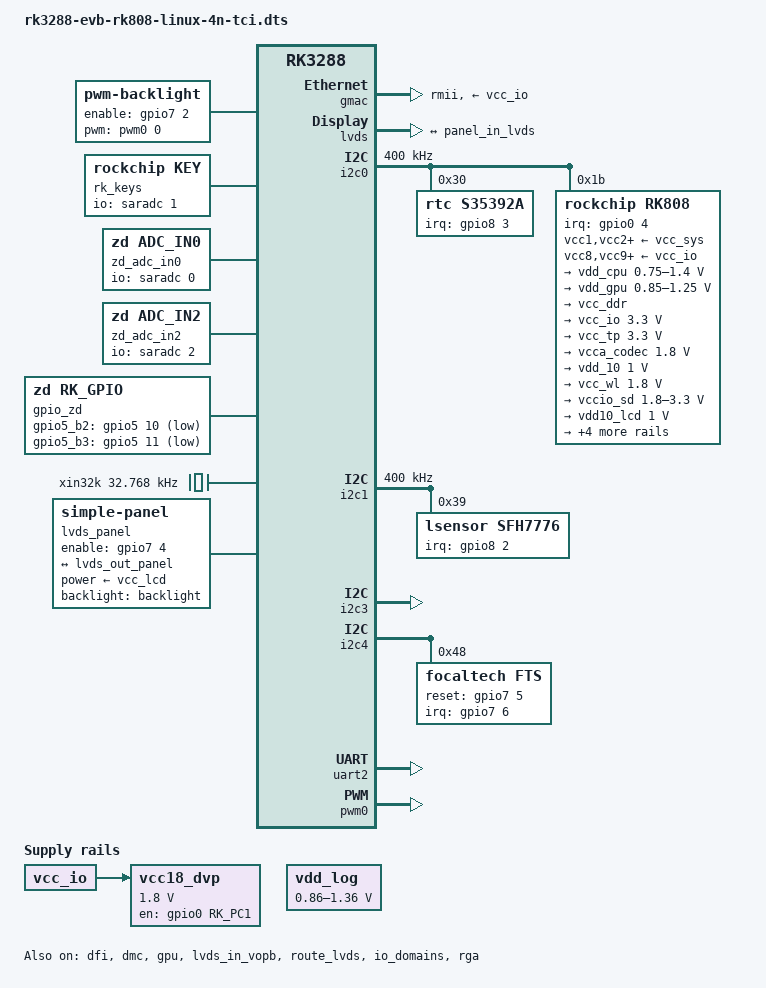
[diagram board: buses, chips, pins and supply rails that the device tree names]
/*
 * This file is dual-licensed: you can use it either under the terms
 * of the GPL or the X11 license, at your option. Note that this dual
 * licensing only applies to this file, and not this project as a
 * whole.
 *
 *  a) This file is free software; you can redistribute it and/or
 *     modify it under the terms of the GNU General Public License as
 *     published by the Free Software Foundation; either version 2 of the
 *     License, or (at your option) any later version.
 *
 *     This file is distributed in the hope that it will be useful,
 *     but WITHOUT ANY WARRANTY; without even the implied warranty of
 *     MERCHANTABILITY or FITNESS FOR A PARTICULAR PURPOSE.  See the
 *     GNU General Public License for more details.
 *
 * Or, alternatively,
 *
 *  b) Permission is hereby granted, free of charge, to any person
 *     obtaining a copy of this software and associated documentation
 *     files (the "Software"), to deal in the Software without
 *     restriction, including without limitation the rights to use,
 *     copy, modify, merge, publish, distribute, sublicense, and/or
 *     sell copies of the Software, and to permit persons to whom the
 *     Software is furnished to do so, subject to the following
 *     conditions:
 *
 *     The above copyright notice and this permission notice shall be
 *     included in all copies or substantial portions of the Software.
 *
 *     THE SOFTWARE IS PROVIDED "AS IS", WITHOUT WARRANTY OF ANY KIND,
 *     EXPRESS OR IMPLIED, INCLUDING BUT NOT LIMITED TO THE WARRANTIES
 *     OF MERCHANTABILITY, FITNESS FOR A PARTICULAR PURPOSE AND
 *     NONINFRINGEMENT. IN NO EVENT SHALL THE AUTHORS OR COPYRIGHT
 *     HOLDERS BE LIABLE FOR ANY CLAIM, DAMAGES OR OTHER LIABILITY,
 *     WHETHER IN AN ACTION OF CONTRACT, TORT OR OTHERWISE, ARISING
 *     FROM, OUT OF OR IN CONNECTION WITH THE SOFTWARE OR THE USE OR
 *     OTHER DEALINGS IN THE SOFTWARE.
 */

/dts-v1/;
#include "rk3288-evb-4n.dtsi"
#include "rk3288-linux-4n.dtsi"
//#include "rk3288-rkisp1.dtsi"
#include <dt-bindings/display/media-bus-format.h>

/ {
	compatible = "rockchip,rk3288-evb-rk808-linux", "rockchip,rk3288";

	backlight: backlight {
		compatible = "pwm-backlight";
		brightness-levels = <
			  0   1   2   3   4   5   6   7
			  8   9  10  11  12  13  14  15
			 16  17  18  19  20  21  22  23
			 24  25  26  27  28  29  30  31
			 32  33  34  35  36  37  38  39
			 40  41  42  43  44  45  46  47
			 48  49  50  51  52  53  54  55
			 56  57  58  59  60  61  62  63
			 64  65  66  67  68  69  70  71
			 72  73  74  75  76  77  78  79
			 80  81  82  83  84  85  86  87
			 88  89  90  91  92  93  94  95
			 96  97  98  99 100 101 102 103
			104 105 106 107 108 109 110 111
			112 113 114 115 116 117 118 119
			120 121 122 123 124 125 126 127
			128 129 130 131 132 133 134 135
			136 137 138 139 140 141 142 143
			144 145 146 147 148 149 150 151
			152 153 154 155 156 157 158 159
			160 161 162 163 164 165 166 167
			168 169 170 171 172 173 174 175
			176 177 178 179 180 181 182 183
			184 185 186 187 188 189 190 191
			192 193 194 195 196 197 198 199
			200 201 202 203 204 205 206 207
			208 209 210 211 212 213 214 215
			216 217 218 219 220 221 222 223
			224 225 226 227 228 229 230 231
			232 233 234 235 236 237 238 239
			240 241 242 243 244 245 246 247
			248 249 250 251 252 253 254 255>;
		default-brightness-level = <225>;
		enable-gpios = <&gpio7 2 GPIO_ACTIVE_HIGH>;
		pinctrl-names = "default";
		pinctrl-0 = <&bl_en>;
		pwms = <&pwm0 0 1000000 PWM_POLARITY_INVERTED>;
	};

	rk_keys{
		status = "okay";
		compatible = "rockchip,key";
		io-channels = <&saradc 1>;

		//vol-up-key {
		right-key {
			//linux,code = <115>;
			//label = "volume up";
			linux,code = <106>;
			label = "right";
			rockchip,adc_value = <93>;
		};

		//vol-down-key {
		left-key {
			//linux,code = <114>;
			//label = "volume down";
			linux,code = <105>;
			label = "left";
			rockchip,adc_value = <170>;
		};

		

		up-key {
			linux,code = <103>;
			label = "up";
			rockchip,adc_value = <327>;
		};

		down-key {
			linux,code = <108>;
			label = "down";
			rockchip,adc_value = <415>;
		};

		power-key {
			gpios = <&gpio0 5 GPIO_ACTIVE_LOW>;
			linux,code = <116>;
			pinctrl-names = "default";
			//pinctrl-0 = <&pwrbtn>;
			label = "power";
			gpio-key,wakeup;
		};

		//back-key {
		esc-key {
			//linux,code = <158>;
			linux,code = <1>;//exit
			linux,code_long_press = <28>;	// Enter
			//linux,code_very_long_press = <250>;	// SHUTDOWN
			//label = "back";
			label = "exit";
			rockchip,adc_value = <489>;
		};
	};

	zd_adc_in0 {
		status = "okay";
		compatible = "zd,adc_in0";
		io-channels = <&saradc 0>;
	};

	zd_adc_in2 {
		status = "okay";
		compatible = "zd,adc_in2";
		io-channels = <&saradc 2>;
	};

	gpio_zd {
		compatible = "zd,rk_gpio";
		status = "okay";
		gpio5_b2 = <&gpio5 10 GPIO_ACTIVE_LOW>;//GPIO5_B2
		gpio5_b3 = <&gpio5 11 GPIO_ACTIVE_LOW>;//GPIO5_B3
	};
/*
	leds {
		compatible = "gpio-leds";
		gpio5_b2 {
			label = "gpio5_b2";
			linux,default-trigger = "ir-power-click";
			gpios = <&gpio5 10 GPIO_ACTIVE_HIGH>;
			pinctrl-names = "default";
			pinctrl-0 = <&gpio5_b2>;
			default-state = "off";
		};

		gpio5_b3 {
			label = "gpio5_b3";
			linux,default-trigger = "ir-user-click";
			gpios = <&gpio5 11 GPIO_ACTIVE_HIGH>;
			pinctrl-names = "default";
			pinctrl-0 = <&gpio5_b3>;
			default-state = "off";
		};

	};
*/
	/delete-node/ sdmmc-regulator;

	vcc18_dvp: vcc18-dvp {
		compatible = "regulator-fixed";
		regulator-name = "vcc18_dvp";
		regulator-min-microvolt = <1800000>;
		regulator-max-microvolt = <1800000>;
		gpio = <&gpio0 RK_PC1 GPIO_ACTIVE_HIGH>;
		enable-active-high;
		regulator-always-on;
		vin-supply = <&vcc_io>;
	};

	vdd_log: vdd-logic {
		compatible = "pwm-regulator";
		rockchip,pwm_id = <1>;
		rockchip,pwm_voltage = <1100000>;
		pwms = <&pwm1 0 25000 1>;
		regulator-name = "vcc_log";
		regulator-min-microvolt = <860000>;
		regulator-max-microvolt = <1360000>;
		regulator-always-on;
		regulator-boot-on;
	};

	xin32k: xin32k {
		compatible = "fixed-clock";
		clock-frequency = <32768>;
		clock-output-names = "xin32k";
		#clock-cells = <0>;
	};
};

&cpu0 {
	cpu0-supply = <&vdd_cpu>;
};

&dfi {
	status = "okay";
};

&dmc {
	center-supply = <&vdd_log>;
	status = "okay";
};

&gpu {
	status = "okay";
	mali-supply = <&vdd_gpu>;
};

&ext_gmac {
	clock-frequency = <50000000>;	
};

&gmac {
	status = "okay";
	phy-supply = <&vcc_io>;
	phy-mode = "rmii";
	clock_in_out = "input";
	pinctrl-names = "default";
 	pinctrl-0 = <&rmii_pins>;
 	max-speed = <100>;
	
	
};

&lvds_in_vopb{
	status = "okay";
};

&lvds_in_vopl{
	status = "disabled";
};

&route_lvds {
	status = "okay";
	connect = <&vopb_out_lvds>;
};

&lvds {
	status = "okay";
	pinctrl-names = "default";
	pinctrl-0 = <&lcdc_rgb_dclk_pin>;
	ports {
		port@1 {
			reg = <1>;
			lvds_out_panel: endpoint@0 {
				reg = <0>;
				remote-endpoint = <&panel_in_lvds>;
			};
		};
	};
};

&lvds_panel {
	status = "okay";
	compatible ="simple-panel";
	backlight = <&backlight>;
	enable-gpios = <&gpio7 4 GPIO_ACTIVE_HIGH>;
	power-supply = <&vcc_lcd>;
	bus-format = <MEDIA_BUS_FMT_RGB666_1X24_CPADHI>; 
	bpc = <6>;
	rockchip,output = "rgb";
	rockchip,data-mapping = "jeida"; 
	rockchip,data-width =<18>;

	display-timings {
		native-mode = <&timing0>;

		timing0: timing0 {
			clock-frequency = <38000000>;
			hactive = <720>;
			vactive = <720>;
			hback-porch = <40>;
			hfront-porch = <20>;
			vback-porch = <20>;
			vfront-porch = <20>;
			hsync-len = <20>;
			vsync-len = <20>;
			hsync-active = <0>;
			vsync-active = <0>;
			de-active = <0>;
			pixelclk-active = <1>;
		};
	};
	ports {
		panel_in_lvds: endpoint {
			remote-endpoint = <&lvds_out_panel>;
		};
	};
};

&i2c0 {
	clock-frequency = <400000>;

	rtc@30 {
		status = "okay";
		compatible = "rtc,s35392a";
		reg = <0x30>;
		irq_gpio = <&gpio8 3 IRQ_TYPE_EDGE_FALLING>;
	};

	rk808: pmic@1b {
		compatible = "rockchip,rk808";
		reg = <0x1b>;
		interrupt-parent = <&gpio0>;
		interrupts = <4 IRQ_TYPE_LEVEL_LOW>;
		pinctrl-names = "default";
		pinctrl-0 = <&pmic_int &global_pwroff>;
		rockchip,system-power-controller;
		wakeup-source;
		#clock-cells = <1>;
		clock-output-names = "rk808-clkout1", "rk808-clkout2";

		vcc1-supply = <&vcc_sys>;
		vcc2-supply = <&vcc_sys>;
		vcc3-supply = <&vcc_sys>;
		vcc4-supply = <&vcc_sys>;
		vcc6-supply = <&vcc_sys>;
		vcc8-supply = <&vcc_io>;
		vcc9-supply = <&vcc_io>;
		vcc12-supply = <&vcc_io>;
		vddio-supply = <&vcc_io>;

		regulators {
			vdd_cpu: DCDC_REG1 {
				regulator-always-on;
				regulator-boot-on;
				regulator-min-microvolt = <750000>;
				regulator-max-microvolt = <1400000>;
				regulator-name = "vdd_arm";
				regulator-state-mem {
					regulator-off-in-suspend;
				};
			};

			vdd_gpu: DCDC_REG2 {
				regulator-always-on;
				regulator-boot-on;
				regulator-min-microvolt = <850000>;
				regulator-max-microvolt = <1250000>;
				regulator-name = "vdd_gpu";
				regulator-ramp-delay = <6000>;
				regulator-state-mem {
					regulator-off-in-suspend;
				};
			};

			vcc_ddr: DCDC_REG3 {
				regulator-always-on;
				regulator-boot-on;
				regulator-name = "vcc_ddr";
				regulator-state-mem {
					regulator-on-in-suspend;
				};
			};

			vcc_io: DCDC_REG4 {
				regulator-always-on;
				regulator-boot-on;
				regulator-min-microvolt = <3300000>;
				regulator-max-microvolt = <3300000>;
				regulator-name = "vcc_io";
				regulator-state-mem {
					regulator-on-in-suspend;
					regulator-suspend-microvolt = <3300000>;
				};
			};

			vcc_tp: LDO_REG1 {
				regulator-always-on;
				regulator-boot-on;
				regulator-min-microvolt = <3300000>;
				regulator-max-microvolt = <3300000>;
				regulator-name = "vcc_tp";
				regulator-state-mem {
					regulator-off-in-suspend;
				};
			};

			vcca_codec: LDO_REG2 {
				regulator-always-on;
				regulator-boot-on;
				regulator-min-microvolt = <1800000>;
				regulator-max-microvolt = <1800000>;
				regulator-name = "vcca_codec";
				regulator-state-mem {
					regulator-off-in-suspend;
				};
			};

			vdd_10: LDO_REG3 {
				regulator-always-on;
				regulator-boot-on;
				regulator-min-microvolt = <1000000>;
				regulator-max-microvolt = <1000000>;
				regulator-name = "vdd_10";
				regulator-state-mem {
					regulator-on-in-suspend;
					regulator-suspend-microvolt = <1000000>;
				};
			};

			vcc_wl: LDO_REG4 {
				regulator-always-on;
				regulator-boot-on;
				regulator-min-microvolt = <1800000>;
				regulator-max-microvolt = <1800000>;
				regulator-name = "vcc_wl";
				regulator-state-mem {
					regulator-off-in-suspend;
				};
			};

			vccio_sd: LDO_REG5 {
				regulator-always-on;
				regulator-boot-on;
				regulator-min-microvolt = <1800000>;
				regulator-max-microvolt = <3300000>;
				regulator-name = "vccio_sd";
				regulator-state-mem {
					regulator-on-in-suspend;
					regulator-suspend-microvolt = <3300000>;
				};
			};

			vdd10_lcd: LDO_REG6 {
				regulator-always-on;
				regulator-boot-on;
				regulator-min-microvolt = <1000000>;
				regulator-max-microvolt = <1000000>;
				regulator-name = "vdd10_lcd";
				regulator-state-mem {
					regulator-off-in-suspend;
				};
			};

			vcc_18: LDO_REG7 {
				regulator-always-on;
				regulator-boot-on;
				regulator-min-microvolt = <1800000>;
				regulator-max-microvolt = <1800000>;
				regulator-name = "vcc_18";
				regulator-state-mem {
					regulator-on-in-suspend;
					regulator-suspend-microvolt = <1800000>;
				};
			};

			vcc18_lcd: LDO_REG8 {
				regulator-always-on;
				regulator-boot-on;
				regulator-min-microvolt = <1800000>;
				regulator-max-microvolt = <1800000>;
				regulator-name = "vcc18_lcd";
				regulator-state-mem {
					regulator-off-in-suspend;
				};
			};

			vcc_sd: SWITCH_REG1 {
				regulator-always-on;
				regulator-boot-on;
				regulator-name = "vcc_sd";
				regulator-state-mem {
					regulator-on-in-suspend;
				};
			};

			vcc_lcd: SWITCH_REG2 {
				//regulator-always-on;
				regulator-boot-on;
				regulator-min-microvolt = <3300000>;
				regulator-max-microvolt = <3300000>;
				regulator-name = "vcc_lcd";
				regulator-state-mem {
					regulator-off-in-suspend;
				};
			};
		};
	};

};


&i2c1 {
	status = "okay";
	clock-frequency = <400000>;

	lsensor:lsensor@39 {
		status = "okay";
		compatible = "lsensor,sfh7776";
		reg = <0x39>;
		irq-gpio = <&gpio8 2 IRQ_TYPE_EDGE_FALLING>;
	};
	
};

&io_domains {
	status = "okay";
	audio-supply = <&vcc_io>;
	bb-supply = <&vcc_io>;
	dvp-supply = <&vcc18_dvp>;
	flash0-supply = <&vcc_18>;
	flash1-supply = <&vcc_io>;
	gpio30-supply = <&vcc_io>;
	gpio1830 = <&vcc_io>;
	lcdc-supply = <&vcc_lcd>;
	sdcard-supply = <&vccio_sd>;
	wifi-supply = <&vcc_wl>;
};

&i2c3 {
	status = "okay";
};

&i2c4 {
	status = "okay";
	focaltech:focaltech@48{
		compatible = "focaltech,fts"; /* do not modify */
		reg = <0x48>; /* do not modify */
		focaltech,reset-gpio = <&gpio7 5 GPIO_ACTIVE_HIGH>; /* RST */
		focaltech,irq-gpio = <&gpio7 6 IRQ_TYPE_LEVEL_LOW>; /* INT */
		focaltech,max-touch-number = <10>; 
		focaltech,display-coords = <0 0 720 720>; 
		/*focaltech,have-key;*/
		};
};
&isp {
	status = "disabled";
};

&isp_mmu {
	status = "disabled";
};

&mipi_phy_rx0 {
	status = "disabled";
};

&rga {
	status = "okay";
};

&uart2 {
	status = "okay";
};

&pwm0 {
	status = "okay";
};

&pinctrl {
	backlight {
		bl_en: bl-en {
			rockchip,pins = <7 2 RK_FUNC_GPIO &pcfg_pull_none>;
		};
	};

	buttons {
		pwrbtn: pwrbtn {
			rockchip,pins = <0 5 RK_FUNC_GPIO &pcfg_pull_up>;
		};
	};


	pmic {
		pmic_int: pmic-int {
			rockchip,pins = <RK_GPIO0 4 RK_FUNC_GPIO &pcfg_pull_up>;
		};
	};

	lcd {
		lcd_cs: lcd-cs {
			rockchip,pins = <7 4 RK_FUNC_GPIO &pcfg_pull_none>;
		};
	};

	lcdc_rgb {	
		lcdc_rgb_dclk_pin: lcdc-rgb-dclk-pin {
			rockchip,pins = 
				<1 24 RK_FUNC_1 &pcfg_pull_none>,
				<1 25 RK_FUNC_1 &pcfg_pull_none>,
				<1 26 RK_FUNC_1 &pcfg_pull_none>,
				<1 27 RK_FUNC_1 &pcfg_pull_none>;
		};

	};
/*
	leds {
		gpio5_b2: gpio5-b2 {
			rockchip,pins = <5 10 RK_FUNC_GPIO &pcfg_pull_none>;
		};

		gpio5_b3: gpio5-b3 {
			rockchip,pins = <5 11 RK_FUNC_GPIO &pcfg_pull_none>;
		};
	};
*/
};
